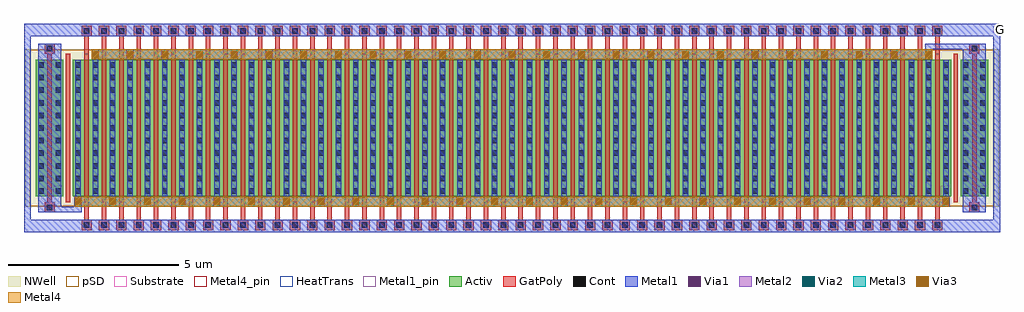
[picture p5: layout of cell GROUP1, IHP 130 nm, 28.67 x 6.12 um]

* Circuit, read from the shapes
.subckt GROUP1 G
XM1 pmos$2_priv1_0/D pmos$2_priv1_0/D pmos$2_priv1_0/D n1 sg13_lv_pmos w=4u l=0.13u
XM2 pmos$2_priv1_0/S G pmos$2_priv1_0/D n1 sg13_lv_pmos w=4u l=0.13u m=50
XM3 pmos$2_priv1_0/S pmos$2_priv1_0/S pmos$2_priv1_0/S n1 sg13_lv_pmos w=4u l=0.13u
.ends

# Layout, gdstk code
import gdstk
lib = gdstk.Library(unit=1e-6, precision=1e-09)
def R(c, l, rs):  # rectangles x0, y0, x1, y1
    for r in rs: c.add(gdstk.rectangle(r[:2], r[2:], *l))
def A(c, l, x, y, w, h, nx, ny, dx, dy):  # array of equal rectangles
    R(c, l, [(x+i*dx, y+j*dy, x+i*dx+w, y+j*dy+h) for i in range(nx) for j in range(ny)])
Activ = (1, 0)
GatPoly = (5, 0)
Cont = (6, 0)
Metal1 = (8, 0)
Metal1_pin = (8, 2)
Metal2 = (10, 0)
pSD = (14, 0)
Via1 = (19, 0)
Via2 = (29, 0)
Metal3 = (30, 0)
NWell = (31, 0)
Substrate = (40, 0)
Via3 = (49, 0)
Metal4 = (50, 0)
Metal4_pin = (50, 2)
HeatTrans = (51, 0)

pmos_2_priv1 = lib.new_cell('pmos$2_priv1')
A(pmos_2_priv1, Activ, 0, 0, 0.3, 0.3, 51, 1, 0.51, 0)
R(pmos_2_priv1, Activ, [(0,0,25.8,4)])
A(pmos_2_priv1, GatPoly, 0.255, -1, 0.3, 0.3, 50, 2, 0.51, 5.7)
A(pmos_2_priv1, GatPoly, 0.34, -0.7, 0.13, 0.52, 50, 2, 0.51, 4.88)
A(pmos_2_priv1, GatPoly, 0.34, -0.18, 0.13, 4.36, 50, 1, 0.51, 0)
R(pmos_2_priv1, GatPoly, [(0.34,-0.18,0.47,4.18)])
A(pmos_2_priv1, Cont, 0.325, -0.93, 0.16, 0.16, 50, 2, 0.51, 5.7)
A(pmos_2_priv1, Cont, 0.07, 0.07, 0.16, 0.16, 51, 11, 0.51, 0.37)
A(pmos_2_priv1, Metal1, 0.27, -1.06, 0.27, 0.36, 50, 2, 0.51, 5.76)
A(pmos_2_priv1, Metal1, 0.045, -0.31, 0.21, 0.29, 26, 1, 1.02, 0)
A(pmos_2_priv1, Metal1, 0.07, -0.035, 0.16, 0.05, 26, 1, 1.02, 0)
A(pmos_2_priv1, Metal1, 0.58, 0, 0.16, 4, 50, 1, 0.51, 0)
A(pmos_2_priv1, Metal1, 0.58, 3.985, 0.16, 0.05, 25, 1, 1.02, 0)
A(pmos_2_priv1, Metal1, 0.555, 4.02, 0.21, 0.29, 25, 1, 1.02, 0)
R(pmos_2_priv1, Metal1, [(0.07,0,0.23,4), (0.07,0,0.23,4), (0.58,0,0.74,4)])
A(pmos_2_priv1, Metal2, 0.05, -0.31, 0.2, 0.29, 26, 1, 1.02, 0)
A(pmos_2_priv1, Metal2, 0.56, 4.02, 0.2, 0.29, 25, 1, 1.02, 0)
R(pmos_2_priv1, Metal2, [(0.05,-0.31,25.75,-0.02), (0.56,4.02,25.24,4.31)])
R(pmos_2_priv1, pSD, [(-0.18,-0.3,25.98,4.3)])
A(pmos_2_priv1, Via1, 0.055, -0.26, 0.19, 0.19, 26, 1, 1.02, 0)
A(pmos_2_priv1, Via1, 0.565, 4.07, 0.19, 0.19, 25, 1, 1.02, 0)
A(pmos_2_priv1, Via2, 0.055, -0.26, 0.19, 0.19, 26, 1, 1.02, 0)
A(pmos_2_priv1, Via2, 0.565, 4.07, 0.19, 0.19, 25, 1, 1.02, 0)
A(pmos_2_priv1, Metal3, 0.05, -0.31, 0.2, 0.29, 26, 1, 1.02, 0)
A(pmos_2_priv1, Metal3, 0.56, 4.02, 0.2, 0.29, 25, 1, 1.02, 0)
R(pmos_2_priv1, Metal3, [(0.05,-0.31,25.75,-0.02), (0.56,4.02,25.24,4.31)])
R(pmos_2_priv1, NWell, [(-0.31,-0.31,26.11,4.31)])
R(pmos_2_priv1, Substrate, [(25.5,0,25.8,0.3)])
A(pmos_2_priv1, Via3, 0.055, -0.26, 0.19, 0.19, 26, 1, 1.02, 0)
A(pmos_2_priv1, Via3, 0.565, 4.07, 0.19, 0.19, 25, 1, 1.02, 0)
A(pmos_2_priv1, Metal4, 0.05, -0.31, 0.2, 0.29, 26, 1, 1.02, 0)
A(pmos_2_priv1, Metal4, 0.56, 4.02, 0.2, 0.29, 25, 1, 1.02, 0)
R(pmos_2_priv1, Metal4, [(0.05,-0.31,25.75,-0.02), (0.56,4.02,25.24,4.31)])
R(pmos_2_priv1, Metal4_pin, [(25.555,-0.26,25.745,-0.07), (25.045,4.07,25.235,4.26)])
A(pmos_2_priv1, HeatTrans, 0.34, -0.18, 0.13, 4.36, 50, 1, 0.51, 0)
pmos_2_priv1.add(gdstk.Label('pmos', (0.405,2), layer=63, texttype=0))
pmos_2_priv1.add(gdstk.Label('pmos', (0.405,2), layer=51, texttype=0))
pmos_2_priv1.add(gdstk.Label('pmos', (0.915,2), layer=51, texttype=0))
pmos_2_priv1.add(gdstk.Label('pmos', (1.425,2), layer=51, texttype=0))
pmos_2_priv1.add(gdstk.Label('pmos', (1.935,2), layer=51, texttype=0))
pmos_2_priv1.add(gdstk.Label('pmos', (2.445,2), layer=51, texttype=0))
pmos_2_priv1.add(gdstk.Label('pmos', (2.955,2), layer=51, texttype=0))
pmos_2_priv1.add(gdstk.Label('pmos', (3.465,2), layer=51, texttype=0))
pmos_2_priv1.add(gdstk.Label('pmos', (3.975,2), layer=51, texttype=0))
pmos_2_priv1.add(gdstk.Label('pmos', (4.485,2), layer=51, texttype=0))
pmos_2_priv1.add(gdstk.Label('pmos', (4.995,2), layer=51, texttype=0))
pmos_2_priv1.add(gdstk.Label('pmos', (5.505,2), layer=51, texttype=0))
pmos_2_priv1.add(gdstk.Label('pmos', (6.015,2), layer=51, texttype=0))
pmos_2_priv1.add(gdstk.Label('pmos', (6.525,2), layer=51, texttype=0))
pmos_2_priv1.add(gdstk.Label('pmos', (7.035,2), layer=51, texttype=0))
pmos_2_priv1.add(gdstk.Label('pmos', (7.545,2), layer=51, texttype=0))
pmos_2_priv1.add(gdstk.Label('pmos', (8.055,2), layer=51, texttype=0))
pmos_2_priv1.add(gdstk.Label('pmos', (8.565,2), layer=51, texttype=0))
pmos_2_priv1.add(gdstk.Label('pmos', (9.075,2), layer=51, texttype=0))
pmos_2_priv1.add(gdstk.Label('pmos', (9.585,2), layer=51, texttype=0))
pmos_2_priv1.add(gdstk.Label('pmos', (10.095,2), layer=51, texttype=0))
pmos_2_priv1.add(gdstk.Label('pmos', (10.605,2), layer=51, texttype=0))
pmos_2_priv1.add(gdstk.Label('pmos', (11.115,2), layer=51, texttype=0))
pmos_2_priv1.add(gdstk.Label('pmos', (11.625,2), layer=51, texttype=0))
pmos_2_priv1.add(gdstk.Label('pmos', (12.135,2), layer=51, texttype=0))
pmos_2_priv1.add(gdstk.Label('pmos', (12.645,2), layer=51, texttype=0))
pmos_2_priv1.add(gdstk.Label('pmos', (13.155,2), layer=51, texttype=0))
pmos_2_priv1.add(gdstk.Label('pmos', (13.665,2), layer=51, texttype=0))
pmos_2_priv1.add(gdstk.Label('pmos', (14.175,2), layer=51, texttype=0))
pmos_2_priv1.add(gdstk.Label('pmos', (14.685,2), layer=51, texttype=0))
pmos_2_priv1.add(gdstk.Label('pmos', (15.195,2), layer=51, texttype=0))
pmos_2_priv1.add(gdstk.Label('pmos', (15.705,2), layer=51, texttype=0))
pmos_2_priv1.add(gdstk.Label('pmos', (16.215,2), layer=51, texttype=0))
pmos_2_priv1.add(gdstk.Label('pmos', (16.725,2), layer=51, texttype=0))
pmos_2_priv1.add(gdstk.Label('pmos', (17.235,2), layer=51, texttype=0))
pmos_2_priv1.add(gdstk.Label('pmos', (17.745,2), layer=51, texttype=0))
pmos_2_priv1.add(gdstk.Label('pmos', (18.255,2), layer=51, texttype=0))
pmos_2_priv1.add(gdstk.Label('pmos', (18.765,2), layer=51, texttype=0))
pmos_2_priv1.add(gdstk.Label('pmos', (19.275,2), layer=51, texttype=0))
pmos_2_priv1.add(gdstk.Label('pmos', (19.785,2), layer=51, texttype=0))
pmos_2_priv1.add(gdstk.Label('pmos', (20.295,2), layer=51, texttype=0))
pmos_2_priv1.add(gdstk.Label('pmos', (20.805,2), layer=51, texttype=0))
pmos_2_priv1.add(gdstk.Label('pmos', (21.315,2), layer=51, texttype=0))
pmos_2_priv1.add(gdstk.Label('pmos', (21.825,2), layer=51, texttype=0))
pmos_2_priv1.add(gdstk.Label('pmos', (22.335,2), layer=51, texttype=0))
pmos_2_priv1.add(gdstk.Label('pmos', (22.845,2), layer=51, texttype=0))
pmos_2_priv1.add(gdstk.Label('pmos', (23.355,2), layer=51, texttype=0))
pmos_2_priv1.add(gdstk.Label('pmos', (23.865,2), layer=51, texttype=0))
pmos_2_priv1.add(gdstk.Label('pmos', (24.375,2), layer=51, texttype=0))
pmos_2_priv1.add(gdstk.Label('pmos', (24.885,2), layer=51, texttype=0))
pmos_2_priv1.add(gdstk.Label('pmos', (25.395,2), layer=51, texttype=0))
pmos_2_priv1.add(gdstk.Label('S', (25.14,4.165), layer=50, texttype=0))
pmos_2_priv1.add(gdstk.Label('D', (25.65,-0.165), layer=50, texttype=0))

pmos_5_priv1 = lib.new_cell('pmos$5_priv1')
R(pmos_5_priv1, Activ, [(0,0,0.3,0.3), (0,0,0.81,4), (0.51,0,0.81,0.3)])
R(pmos_5_priv1, GatPoly, [(0.255,-0.48,0.555,-0.18), (0.34,-0.18,0.47,4.18), (0.34,-0.18,0.47,4.18), (0.255,4.18,0.555,4.48)])
A(pmos_5_priv1, Cont, 0.07, 0.07, 0.16, 0.16, 1, 11, 0, 0.37)
A(pmos_5_priv1, Cont, 0.58, 0.07, 0.16, 0.16, 1, 11, 0, 0.37)
R(pmos_5_priv1, Cont, [(0.325,-0.41,0.485,-0.25), (0.325,4.25,0.485,4.41)])
R(pmos_5_priv1, Metal1, [(0.07,-0.48,0.74,4.48), (0.07,0,0.23,4), (0.07,0,0.23,4), (0.58,0,0.74,4), (0.58,0,0.74,4)])
R(pmos_5_priv1, pSD, [(-0.18,-0.3,0.99,4.3)])
R(pmos_5_priv1, NWell, [(-0.31,-0.31,1.12,4.31)])
R(pmos_5_priv1, Substrate, [(0.51,0,0.81,0.3)])
R(pmos_5_priv1, HeatTrans, [(0.34,-0.18,0.47,4.18)])
pmos_5_priv1.add(gdstk.Label('pmos', (0.405,2), layer=63, texttype=0))
pmos_5_priv1.add(gdstk.Label('pmos', (0.405,2), layer=51, texttype=0))

pmos_5_priv2 = lib.new_cell('pmos$5_priv2')
R(pmos_5_priv2, Activ, [(0,0,0.3,0.3), (0,0,0.81,4), (0.51,0,0.81,0.3)])
R(pmos_5_priv2, GatPoly, [(0.255,-0.48,0.555,-0.18), (0.34,-0.18,0.47,4.18), (0.34,-0.18,0.47,4.18), (0.255,4.18,0.555,4.48)])
A(pmos_5_priv2, Cont, 0.07, 0.07, 0.16, 0.16, 1, 11, 0, 0.37)
A(pmos_5_priv2, Cont, 0.58, 0.07, 0.16, 0.16, 1, 11, 0, 0.37)
R(pmos_5_priv2, Cont, [(0.325,-0.41,0.485,-0.25), (0.325,4.25,0.485,4.41)])
R(pmos_5_priv2, Metal1, [(0.07,-0.48,0.74,4.48), (0.07,0,0.23,4), (0.07,0,0.23,4), (0.58,0,0.74,4), (0.58,0,0.74,4)])
R(pmos_5_priv2, pSD, [(-0.18,-0.3,0.99,4.3)])
R(pmos_5_priv2, NWell, [(-0.31,-0.31,1.12,4.31)])
R(pmos_5_priv2, Substrate, [(0.51,0,0.81,0.3)])
R(pmos_5_priv2, HeatTrans, [(0.34,-0.18,0.47,4.18)])
pmos_5_priv2.add(gdstk.Label('pmos', (0.405,2), layer=63, texttype=0))
pmos_5_priv2.add(gdstk.Label('pmos', (0.405,2), layer=51, texttype=0))

group1 = lib.new_cell('GROUP1')
R(group1, GatPoly, [(225.495,207.06,225.625,211.42), (251.57,207.06,251.7,211.42)])
R(group1, Metal1, [(224.265,206.18,252.935,206.54), (224.265,206.18,224.465,212.3), (252.735,206.18,252.935,212.3), (225.355,206.76,225.955,206.92), (225.745,206.92,225.955,207.22), (250.735,211.26,250.945,211.56), (250.735,211.56,251.845,211.72), (224.265,211.94,252.935,212.3)])
R(group1, Metal1_pin, [(252.735,212.025,252.935,212.215)])
group1.add(gdstk.Reference(pmos_2_priv1, (225.7,207.24)))
group1.add(gdstk.Reference(pmos_5_priv1, (251.775,207.24)))
group1.add(gdstk.Reference(pmos_5_priv2, (224.615,207.24)))
group1.add(gdstk.Label('G', (252.935,212.12), layer=8, texttype=0))

lib.write_gds('GROUP1.gds')
